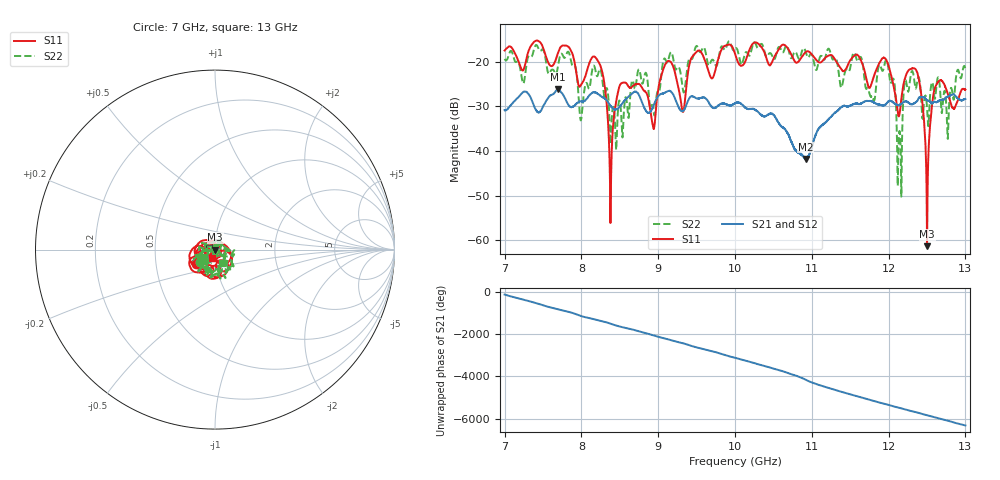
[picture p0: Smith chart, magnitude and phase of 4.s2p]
[Version] 2.0
! Rohde & Schwarz Vector Network Analyzer
! Rohde-Schwarz,ZNL20-2Port,1323001220200009,1.71.1.10-23.02.1.238
! Port Assignments:
! Nominal Port -> Actual Test Port
!  1 -> 1
!  2 -> 2
! Created: GMT+3 2024-09-24 16:02:56
# Hz S DB R 50
[Number of Ports] 2
[Two-Port Data Order] 21_12
! freq[Hz]  S11[mag dB]  S11[ang]  S21[mag dB]  S21[ang]  S12[mag dB]  S12[ang]  S22[mag dB]  S22[ang]
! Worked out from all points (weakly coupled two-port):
!   6001 points, 7 GHz to 13 GHz, reference 50 ohm
!   highest |S21| = -26.23 dB at 7.695 GHz (marker M1); lowest = -41.8 dB at 10.92 GHz (marker M2)
!   lowest |S11| = -61.3 dB at 12.5 GHz (marker M3), VSWR 1.00, Z = 50.1 + j0.0427 ohm
!   |S11| at or under -10 dB: start of sweep to end of sweep
!   |S22| runs from -50.2 to -15.5 dB; largest |S21 - S12| = 0.00097
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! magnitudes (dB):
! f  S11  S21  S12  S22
! 7 GHz  -17.5  -30.9  -30.8  -19.4
! 7.695 GHz  -18.1  -26.2  -26.2  -21.1
! 7.839 GHz  -16.8  -29.9  -29.8  -18.1
! 8 GHz  -25.1  -28.9  -28.9  -32.7
! 8.244 GHz  -20.8  -27.6  -27.6  -21.7
! 8.38 GHz  -54.9  -29.9  -30.0  -38.4
! 8.515 GHz  -25.0  -29.8  -29.9  -31.2
! 8.749 GHz  -25.0  -27.5  -27.4  -21.8
! 8.935 GHz  -34.7  -30.0  -30.0  -30.6
! 9 GHz  -26.2  -27.8  -27.8  -26.6
! 9.162 GHz  -20.1  -26.7  -26.7  -18.0
! 10 GHz  -18.2  -29.3  -29.3  -17.2
! 10.92 GHz  -17.9  -41.8  -41.7  -17.9
! 11 GHz  -18.4  -39.1  -39.1  -18.4
! 12 GHz  -21.0  -28.9  -28.9  -21.8
! 12.14 GHz  -31.8  -29.7  -29.7  -35.5
! 12.22 GHz  -23.6  -28.9  -28.9  -24.3
! 12.36 GHz  -22.0  -29.0  -29.0  -25.7
! 12.5 GHz  -61.3  -28.6  -28.6  -30.4
! 12.62 GHz  -25.1  -29.1  -29.1  -25.3
! 12.77 GHz  -27.2  -27.8  -27.8  -37.3
! 13 GHz  -26.3  -28.4  -28.4  -21.6
